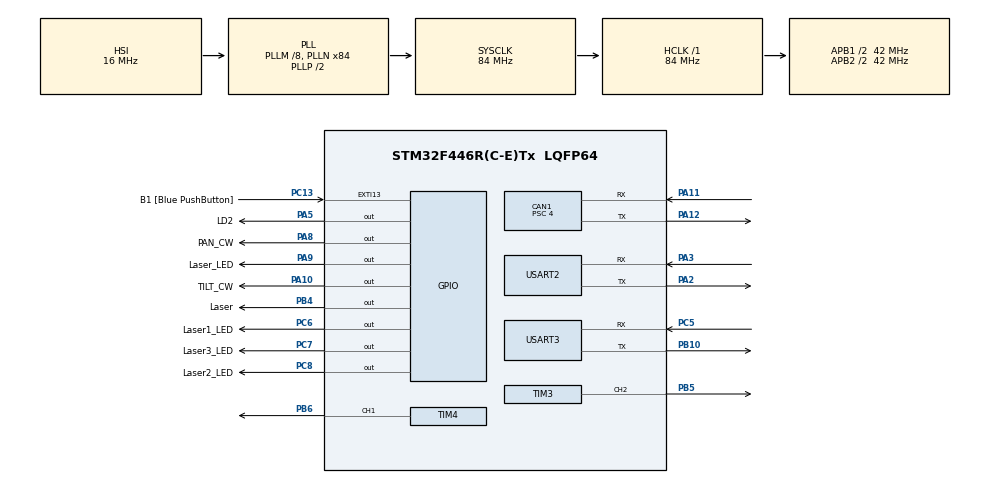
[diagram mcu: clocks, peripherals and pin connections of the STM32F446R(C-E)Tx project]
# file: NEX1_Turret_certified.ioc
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CAN1.BS1=CAN_BS1_15TQ
CAN1.BS2=CAN_BS2_5TQ
CAN1.CalculateBaudRate=500000
CAN1.CalculateTimeBit=2000
CAN1.CalculateTimeQuantum=95.23809523809524
CAN1.Prescaler=4
Mcu.Family=STM32F4
Mcu.Name=STM32F446R(C-E)Tx
Mcu.Package=LQFP64
NVIC.CAN1_RX0_IRQn=true\:0\:0\:false\:false\:true\:true\:true\:true
NVIC.PriorityGroup=NVIC_PRIORITYGROUP_0
NVIC.TIM1_UP_TIM10_IRQn=true\:0\:0\:false\:false\:true\:true\:true\:true
NVIC.TIM2_IRQn=true\:0\:0\:false\:false\:true\:true\:true\:true
NVIC.TIM8_UP_TIM13_IRQn=true\:0\:0\:false\:false\:true\:true\:true\:true
NVIC.USART2_IRQn=true\:0\:0\:false\:false\:true\:true\:true\:true
NVIC.USART3_IRQn=true\:0\:0\:false\:false\:true\:true\:true\:true
PA10.GPIO_Label=TILT_CW
PA10.Signal=GPIO_Output
PA11.Mode=CAN_Activate
PA11.Signal=CAN1_RX
PA12.Mode=CAN_Activate
PA12.Signal=CAN1_TX
PA13.GPIO_Label=TMS
PA13.Mode=Serial_Wire
PA13.Signal=SYS_JTMS-SWDIO
PA14.GPIO_Label=TCK
PA14.Mode=Serial_Wire
PA14.Signal=SYS_JTCK-SWCLK
PA2.Mode=Asynchronous
PA2.Signal=USART2_TX
PA3.Mode=Asynchronous
PA3.Signal=USART2_RX
PA5.GPIO_Label=LD2
PA5.Signal=GPIO_Output
PA8.GPIO_Label=PAN_CW
PA8.Signal=GPIO_Output
PA9.GPIO_Label=Laser_LED
PA9.Signal=GPIO_Output
PB10.Mode=Asynchronous
PB10.Signal=USART3_TX
PB3.GPIO_Label=SWO
PB3.Signal=SYS_JTDO-SWO
PB4.GPIO_Label=Laser
PB4.PinState=GPIO_PIN_RESET
PB4.Signal=GPIO_Output
PB5.Signal=S_TIM3_CH2
PB6.Signal=S_TIM4_CH1
PB8.Signal=S_TIM2_CH1_ETR
PC13.GPIO_Label=B1 [Blue PushButton]
PC13.GPIO_ModeDefaultEXTI=GPIO_MODE_IT_FALLING
PC13.Signal=GPXTI13
PC14-OSC32_IN.Mode=LSE-External-Oscillator
PC14-OSC32_IN.Signal=RCC_OSC32_IN
PC15-OSC32_OUT.Mode=LSE-External-Oscillator
PC15-OSC32_OUT.Signal=RCC_OSC32_OUT
PC5.Mode=Asynchronous
PC5.Signal=USART3_RX
PC6.GPIO_Label=Laser1_LED
PC6.Signal=GPIO_Output
PC7.GPIO_Label=Laser3_LED
PC7.Signal=GPIO_Output
PC8.GPIO_Label=Laser2_LED
PC8.Signal=GPIO_Output
PH0-OSC_IN.Mode=HSE-External-Oscillator
PH0-OSC_IN.Signal=RCC_OSC_IN
PH1-OSC_OUT.Mode=HSE-External-Oscillator
PH1-OSC_OUT.Signal=RCC_OSC_OUT
ProjectManager.HeapSize=0x200
ProjectManager.StackSize=0x400
ProjectManager.TargetToolchain=STM32CubeIDE
RCC.48MHZClocksFreq_Value=84000000
RCC.AHBFreq_Value=84000000
RCC.APB1CLKDivider=RCC_HCLK_DIV2
RCC.APB1Freq_Value=42000000
RCC.APB1TimFreq_Value=84000000
RCC.APB2CLKDivider=RCC_HCLK_DIV2
RCC.APB2Freq_Value=42000000
RCC.APB2TimFreq_Value=84000000
RCC.CortexFreq_Value=84000000
RCC.FLatency-AdvancedSettings=FLASH_LATENCY_2
RCC.HCLKFreq_Value=84000000
RCC.HSE_VALUE=8000000
RCC.HSI_VALUE=16000000
RCC.PLLM=8
RCC.PLLN=84
RCC.SYSCLKFreq_VALUE=84000000
RCC.SYSCLKSource=RCC_SYSCLKSOURCE_PLLCLK
RCC.USBFreq_Value=84000000
RCC.VCOOutputFreq_Value=168000000
SH.S_TIM2_CH1_ETR.0=TIM2_CH1
SH.S_TIM3_CH2.0=TIM3_CH2,PWM Generation2 CH2
SH.S_TIM4_CH1.0=TIM4_CH1,PWM Generation1 CH1
TIM1.AutoReloadPreload=TIM_AUTORELOAD_PRELOAD_ENABLE
TIM1.Period=9999
TIM1.Prescaler=839
TIM2.AutoReloadPreload=TIM_AUTORELOAD_PRELOAD_ENABLE
TIM2.Period=83
TIM2.Prescaler=9999
TIM3.AutoReloadPreload=TIM_AUTORELOAD_PRELOAD_ENABLE
TIM3.Channel-PWM\ Generation2\ CH2=TIM_CHANNEL_2
TIM3.Period=16
TIM3.Prescaler=9999
TIM4.AutoReloadPreload=TIM_AUTORELOAD_PRELOAD_ENABLE
TIM4.Channel-PWM\ Generation1\ CH1=TIM_CHANNEL_1
TIM4.Period=16
TIM4.Prescaler=9999
TIM8.AutoReloadPreload=TIM_AUTORELOAD_PRELOAD_ENABLE
TIM8.Period=83
TIM8.Prescaler=9999
USART2.VirtualMode=VM_ASYNC
USART3.VirtualMode=VM_ASYNC
VP_TIM1_VS_ClockSourceINT.Mode=Internal
VP_TIM2_VS_ClockSourceINT.Mode=Internal
VP_TIM3_VS_ClockSourceINT.Mode=Internal
VP_TIM4_VS_ClockSourceINT.Mode=Internal
VP_TIM8_VS_ClockSourceINT.Mode=Internal
board=NUCLEO-F446RE

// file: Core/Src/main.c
/* USER CODE BEGIN Header */
/**
  ******************************************************************************
  * @file           : main.c
  * @brief          : Gimbal Controller - 2-Axis PID Control with CAN Communication
  *                   - Manual Mode: Direction control via CAN (0x101)
  *                   - Auto Mode: PID tracking via CAN (0x110)
  *                   - Mode Switch: CAN (0x111)
  *                   - Laser Control: CAN (0x120)
  *                   - Heartbeat: CAN (0x702) every 500ms
  ******************************************************************************
  */
/* USER CODE END Header */
#include "main.h"
#include "can.h"
#include "tim.h"
#include "usart.h"
#include "gpio.h"

/* USER CODE BEGIN Includes */
#include <stdio.h>
#include <stdlib.h>
#include <math.h>
/* USER CODE END Includes */

/* USER CODE BEGIN PTD */

// PID 제어기 구조체
typedef struct {
    float Kp;           // 비례 게인
    float Ki;           // 적분 게인
    float Kd;           // 미분 게인

    float integral;     // 적분 누적값
    float prev_error;   // 이전 오차 (미분용)

    float output_min;   // 출력 하한
    float output_max;   // 출력 상한

    float integral_max; // Anti-windup: 적분 상한
} PID_Controller;

/* USER CODE END PTD */

/* USER CODE BEGIN PD */

// PID 제어 주기 (ms)
#define PID_PERIOD_MS       50

// PWM 주파수 범위 (Hz) - TB6560 펄스 주파수 (1kHz 이내)
#define PWM_FREQ_MIN        50      // 최소 펄스 주파수
#define PWM_FREQ_MAX        1000    // 최대 펄스 주파수 (TB6560 제한)

// Dead zone: 이 오차 이내면 모터 정지
#define DEAD_ZONE           5

// 타이머 클럭 (APB1 = 42MHz, prescaler != 1이므로 TIM 클럭 = APB1 * 2 = 84MHz)
#define TIMER_CLOCK         84000000UL

// 수동 모드 속도 (고정 PWM 주파수)
#define MANUAL_SPEED_HZ     200

// 수동 모드 펄스 지속 시간 (200ms = 5 * 10ms)
#define MANUAL_TIMEOUT_COUNT  2

/* USER CODE END PD */

/* USER CODE BEGIN PV */

// PAN (X축) PID 컨트롤러
// 입력 범위: X = -960 ~ +960 (해상도 1920x1080 기준)
// 출력 범위: PWM 주파수 제어용 (50Hz ~ 1000Hz)
PID_Controller pid_pan = {
    .Kp = 0.011f,           // 초기값 (튜닝 필요)
    .Ki = 0.002f,           // 초기값 (P 튜닝 후 조정)
    .Kd = 0.002f,           // 초기값 (PI 튜닝 후 조정)
    .integral = 0.0f,
    .prev_error = 0.0f,
    .output_min = -1000.0f,
    .output_max = 1000.0f,
    .integral_max = 500.0f
};

// TILT (Y축) PID 컨트롤러
// 입력 범위: Y = -540 ~ +540 (해상도 1920x1080 기준)
// 출력 범위: PWM 주파수 제어용 (50Hz ~ 1000Hz)
PID_Controller pid_tilt = {
    .Kp = 0.011f,           // 초기값 (튜닝 필요)
    .Ki = 0.002f,           // 초기값 (P 튜닝 후 조정)
    .Kd = 0.002f,           // 초기값 (PI 튜닝 후 조정)
    .integral = 0.0f,
    .prev_error = 0.0f,
    .output_min = -1000.0f,
    .output_max = 1000.0f,
    .integral_max = 500.0f
};

// PID 제어 타이밍
uint32_t last_pid_time = 0;

// 현재 오차값 (CAN으로 수신)
volatile int16_t error_x = 0;
volatile int16_t error_y = 0;

// 제어 모드: 0 = 자동 (PID), 1 = 수동
volatile uint8_t control_mode = 1;  // 초기값: 수동 모드

// 레이저 상태: 0 = OFF, 1 = ON
volatile uint8_t laser_state = 0;

// 수동 모드 타이머 카운트 (10ms 단위)
volatile uint8_t manual_pan_timer = 0;
volatile uint8_t manual_tilt_timer = 0;

// 수동 모드 방향 플래그
volatile uint8_t manual_pan_dir = 0;   // 0: 정지, 1: CCW(좌), 2: CW(우)
volatile uint8_t manual_tilt_dir = 0;  // 0: 정지, 1: CCW(상), 2: CW(하)

/* USER CODE END PV */

void SystemClock_Config(void);
/* USER CODE BEGIN PFP */

// PID 관련 함수 선언
void PID_Init(PID_Controller *pid);
float PID_Compute(PID_Controller *pid, float setpoint, float measurement, float dt);
void Motor_SetPWMFrequency(TIM_HandleTypeDef *htim, uint32_t channel, uint32_t freq_hz);
void Motor_Stop(TIM_HandleTypeDef *htim, uint32_t channel);
void Control_PAN(float pid_output);
void Control_TILT(float pid_output);

// 레이저 제어
void Laser_Set(uint8_t state);
void Laser_Toggle(void);

// 수동 모드 제어
void Manual_ControlPAN(uint8_t left, uint8_t right);
void Manual_ControlTILT(uint8_t up, uint8_t down);

#ifdef __GNUC__
  #define PUTCHAR_PROTOTYPE int __io_putchar(int ch)
#else
  #define PUTCHAR_PROTOTYPE int fputc(int ch, FILE *f)
#endif
PUTCHAR_PROTOTYPE
{
  HAL_UART_Transmit(&huart2, (uint8_t *)&ch, 1, 0xFFFF);
  return ch;
}

/* USER CODE END PFP */

int main(void)
{

  /* MCU Configuration--------------------------------------------------------*/

  /* Reset of all peripherals, Initializes the Flash interface and the Systick. */
  HAL_Init();

  /* Configure the system clock */
  SystemClock_Config();

  /* Initialize all configured peripherals */
  MX_GPIO_Init();
  MX_TIM1_Init();
  MX_USART2_UART_Init();
  MX_CAN1_Init();
  MX_USART3_UART_Init();
  MX_TIM8_Init();
  MX_TIM2_Init();
  MX_TIM3_Init();
  MX_TIM4_Init();
  /* USER CODE BEGIN 2 */

  // PID 초기화
  PID_Init(&pid_pan);
  PID_Init(&pid_tilt);

  // PWM 시작 (초기에는 정지 상태)
  HAL_TIM_PWM_Start(&htim3, TIM_CHANNEL_2);  // PAN (PB5)
  HAL_TIM_PWM_Start(&htim4, TIM_CHANNEL_1);  // TILT (PB6)
  Motor_Stop(&htim3, TIM_CHANNEL_2);
  Motor_Stop(&htim4, TIM_CHANNEL_1);

  // 타이머 인터럽트 시작 (10ms 주기 - 수동 모드 타이머 & 하트비트)
  HAL_TIM_Base_Start_IT(&htim2);

  // CAN 필터 설정 및 시작
  MX_CAN1_Filter_Gimbal();
  HAL_CAN_Start(&hcan1);

  // 레이저 초기화 (OFF)
  Laser_Set(0);

  // 타이밍 초기화
  last_pid_time = HAL_GetTick();

  printf("\r\n========================================\r\n");
  printf("    Gimbalcv Controller Initialized\r\n");
  printf("    Mode: %s\r\n", control_mode ? "MANUAL" : "AUTO (PID)");
  printf("    Laser: %s\r\n", laser_state ? "ON" : "OFF");
  printf("========================================\r\n");

  /* USER CODE END 2 */

  /* Infinite loop */
  /* USER CODE BEGIN WHILE */
  while (1)
  {
      uint32_t current_time = HAL_GetTick();

      // ========== CAN 메시지 처리 ==========
      CAN_HandleRxMessage();

      // ========== 모드 토글 처리 ==========
      if (CAN_ConsumeModeToggle())
      {
          control_mode = !control_mode;

          // 모드 전환 시 모터 정지 및 PID 리셋
          Motor_Stop(&htim3, TIM_CHANNEL_2);
          Motor_Stop(&htim4, TIM_CHANNEL_1);
          PID_Init(&pid_pan);
          PID_Init(&pid_tilt);
          manual_pan_timer = 0;
          manual_tilt_timer = 0;

          printf("[MODE] Switched to %s mode\r\n", control_mode ? "MANUAL" : "AUTO (PID)");
      }

      // ========== 레이저 ON/OFF 처리 ==========
      {
          uint8_t laser_on;
          if (CAN_GetLaserCmd(&laser_on))
          {
              Laser_Set(laser_on);
              printf("[LASER] %s\r\n", laser_state ? "ON" : "OFF");
          }
      }

      // ========== 수동 모드 ==========
      if (control_mode == 1)
      {
          uint8_t up, down, left, right;

          // CAN에서 수동 제어 명령 수신
          if (CAN_GetManualCmd(&up, &down, &left, &right))
          {
              Manual_ControlPAN(left, right);
              Manual_ControlTILT(up, down);
          }

          // PAN 타이머 만료 → 정지
          if (manual_pan_timer == 0 && manual_pan_dir != 0)
          {
              Motor_Stop(&htim3, TIM_CHANNEL_2);
              manual_pan_dir = 0;
          }

          // TILT 타이머 만료 → 정지
          if (manual_tilt_timer == 0 && manual_tilt_dir != 0)
          {
              Motor_Stop(&htim4, TIM_CHANNEL_1);
              manual_tilt_dir = 0;
          }
      }
      // ========== 자동 (PID) 모드 ==========
      // 좌표 범위: X = -960 ~ +960, Y = -540 ~ +540 (해상도 1920x1080 기준)
      else
      {
          int16_t err_x, err_y;

          // CAN에서 자동 제어 명령 수신 (오차값)
          if (CAN_GetAutoCmd(&err_x, &err_y))
          {
              __disable_irq();
              error_x = err_x;
              error_y = err_y;
              __enable_irq();

              // 드론 오차 좌표 로그 출력 (10진수)
              printf("[AUTO] Drone Error: X=%d, Y=%d\r\n", err_x, err_y);
          }

          // PID 제어 주기 체크 (50ms 마다)
          if ((current_time - last_pid_time) >= PID_PERIOD_MS)
          {
              float dt = (current_time - last_pid_time) / 1000.0f;  // 초 단위
              last_pid_time = current_time;

              // 현재 오차값 복사 (인터럽트 보호)
              __disable_irq();
              int16_t local_err_x = error_x;
              int16_t local_err_y = error_y;
              __enable_irq();

              // PID 계산 (목표: 오차 0)
              // X양수 → PAN CW, X음수 → PAN CCW
              // Y양수 → TILT CCW, Y음수 → TILT CW
              float output_pan = PID_Compute(&pid_pan, 0.0f, (float)local_err_x, dt);
              float output_tilt = PID_Compute(&pid_tilt, 0.0f, (float)local_err_y, dt);

              // PID 출력 로그 (튜닝용) - float를 정수로 변환 출력
              printf("[PID] X_err=%d, Y_err=%d, PAN_out=%d, TILT_out=%d\r\n",
                     local_err_x, local_err_y, (int)output_pan, (int)output_tilt);

              // 모터 제어 적용
              Control_PAN(output_pan);
              Control_TILT(output_tilt);
          }
      }

      // ========== CAN 에러 체크 및 복구 ==========
      CAN_CheckAndRecover();

    /* USER CODE END WHILE */

  }
}

void SystemClock_Config(void)
{
  RCC_OscInitTypeDef RCC_OscInitStruct = {0};
  RCC_ClkInitTypeDef RCC_ClkInitStruct = {0};

  /** Configure the main internal regulator output voltage
  */
  __HAL_RCC_PWR_CLK_ENABLE();
  __HAL_PWR_VOLTAGESCALING_CONFIG(PWR_REGULATOR_VOLTAGE_SCALE3);

  /** Initializes the RCC Oscillators according to the specified parameters
  * in the RCC_OscInitTypeDef structure.
  */
  RCC_OscInitStruct.OscillatorType = RCC_OSCILLATORTYPE_HSI;
  RCC_OscInitStruct.HSIState = RCC_HSI_ON;
  RCC_OscInitStruct.HSICalibrationValue = RCC_HSICALIBRATION_DEFAULT;
  RCC_OscInitStruct.PLL.PLLState = RCC_PLL_ON;
  RCC_OscInitStruct.PLL.PLLSource = RCC_PLLSOURCE_HSI;
  RCC_OscInitStruct.PLL.PLLM = 8;
  RCC_OscInitStruct.PLL.PLLN = 84;
  RCC_OscInitStruct.PLL.PLLP = RCC_PLLP_DIV2;
  RCC_OscInitStruct.PLL.PLLQ = 2;
  RCC_OscInitStruct.PLL.PLLR = 2;
  if (HAL_RCC_OscConfig(&RCC_OscInitStruct) != HAL_OK)
  {
    Error_Handler();
  }

  /** Initializes the CPU, AHB and APB buses clocks
  */
  RCC_ClkInitStruct.ClockType = RCC_CLOCKTYPE_HCLK|RCC_CLOCKTYPE_SYSCLK
                              |RCC_CLOCKTYPE_PCLK1|RCC_CLOCKTYPE_PCLK2;
  RCC_ClkInitStruct.SYSCLKSource = RCC_SYSCLKSOURCE_PLLCLK;
  RCC_ClkInitStruct.AHBCLKDivider = RCC_SYSCLK_DIV1;
  RCC_ClkInitStruct.APB1CLKDivider = RCC_HCLK_DIV2;
  RCC_ClkInitStruct.APB2CLKDivider = RCC_HCLK_DIV2;

  if (HAL_RCC_ClockConfig(&RCC_ClkInitStruct, FLASH_LATENCY_2) != HAL_OK)
  {
    Error_Handler();
  }
}

/* USER CODE BEGIN 4 */

/**
 * @brief PID 컨트롤러 초기화
 */
void PID_Init(PID_Controller *pid)
{
    pid->integral = 0.0f;
    pid->prev_error = 0.0f;
}

/**
 * @brief PID 제어 계산
 */
float PID_Compute(PID_Controller *pid, float setpoint, float measurement, float dt)
{
    float error = setpoint - measurement;

    // Dead zone: 오차가 작으면 적분값 리셋하고 0 반환
    if (fabsf(error) < DEAD_ZONE)
    {
        pid->integral = 0.0f;
        pid->prev_error = 0.0f;
        return 0.0f;
    }

    // 비례항 (P)
    float p_term = pid->Kp * error;

    // 적분항 (I) - Anti-windup 적용
    pid->integral += error * dt;
    if (pid->integral > pid->integral_max) pid->integral = pid->integral_max;
    if (pid->integral < -pid->integral_max) pid->integral = -pid->integral_max;
    float i_term = pid->Ki * pid->integral;

    // 미분항 (D)
    float derivative = (error - pid->prev_error) / dt;
    float d_term = pid->Kd * derivative;
    pid->prev_error = error;

    // PID 출력 합산
    float output = p_term + i_term + d_term;

    // 출력 제한
    if (output > pid->output_max) output = pid->output_max;
    if (output < pid->output_min) output = pid->output_min;

    return output;
}

/**
 * @brief PWM 주파수 설정 (TB6560 펄스 속도 제어)
 */
void Motor_SetPWMFrequency(TIM_HandleTypeDef *htim, uint32_t channel, uint32_t freq_hz)
{
    if (freq_hz < PWM_FREQ_MIN) freq_hz = PWM_FREQ_MIN;
    if (freq_hz > PWM_FREQ_MAX) freq_hz = PWM_FREQ_MAX;

    // ARR 계산
    uint32_t psc = htim->Init.Prescaler;
    uint32_t timer_freq = TIMER_CLOCK / (psc + 1);
    uint32_t arr = (timer_freq / freq_hz) - 1;

    if (arr < 1) arr = 1;
    if (arr > 65535) arr = 65535;

    // ARR 업데이트
    __HAL_TIM_SET_AUTORELOAD(htim, arr);

    // Duty 50%로 설정 (펄스 생성)
    __HAL_TIM_SET_COMPARE(htim, channel, arr / 2);
}

/**
 * @brief 모터 정지 (PWM 출력 0)
 */
void Motor_Stop(TIM_HandleTypeDef *htim, uint32_t channel)
{
    __HAL_TIM_SET_COMPARE(htim, channel, 0);
}

/**
 * @brief PAN 모터 제어 (자동 모드)
 * @note X좌표 양수(드론이 오른쪽) → CCW, X좌표 음수(드론이 왼쪽) → CW
 *       좌표 범위: X = -960 ~ +960 (해상도 1920x1080 기준 중심으로부터의 오차)
 */
void Control_PAN(float pid_output)
{
    if (fabsf(pid_output) < DEAD_ZONE)
    {
        Motor_Stop(&htim3, TIM_CHANNEL_2);
        return;
    }

    // 방향 설정 (PA8: PAN_CW) - 방향 반전 적용
    // X좌표 양수 → pid_output 음수 → CCW (GPIO_PIN_RESET)
    // X좌표 음수 → pid_output 양수 → CW (GPIO_PIN_SET)
    if (pid_output > 0)
    {
        HAL_GPIO_WritePin(PAN_CW_GPIO_Port, PAN_CW_Pin, GPIO_PIN_SET);    // CW
    }
    else
    {
        HAL_GPIO_WritePin(PAN_CW_GPIO_Port, PAN_CW_Pin, GPIO_PIN_RESET);  // CCW
    }

    // 속도 설정
    float speed = fabsf(pid_output);
    uint32_t freq = (uint32_t)(PWM_FREQ_MIN + (speed / 1000.0f) * (PWM_FREQ_MAX - PWM_FREQ_MIN));

    Motor_SetPWMFrequency(&htim3, TIM_CHANNEL_2, freq);
}

/**
 * @brief TILT 모터 제어 (자동 모드)
 * @note Y좌표 양수(드론이 위) → CCW, Y좌표 음수(드론이 아래) → CW
 *       좌표 범위: Y = -540 ~ +540 (해상도 1920x1080 기준 중심으로부터의 오차)
 */
void Control_TILT(float pid_output)
{
    if (fabsf(pid_output) < DEAD_ZONE)
    {
        Motor_Stop(&htim4, TIM_CHANNEL_1);
        return;
    }

    // 방향 설정 (PA10: TILT_CW) - 방향 반전 적용
    // Y좌표 양수 → pid_output 음수 → CCW (GPIO_PIN_SET)
    // Y좌표 음수 → pid_output 양수 → CW (GPIO_PIN_RESET)
    if (pid_output > 0)
    {
        HAL_GPIO_WritePin(TILT_CW_GPIO_Port, TILT_CW_Pin, GPIO_PIN_RESET);  // CW
    }
    else
    {
        HAL_GPIO_WritePin(TILT_CW_GPIO_Port, TILT_CW_Pin, GPIO_PIN_SET);    // CCW
    }

    // 속도 설정
    float speed = fabsf(pid_output);
    uint32_t freq = (uint32_t)(PWM_FREQ_MIN + (speed / 1000.0f) * (PWM_FREQ_MAX - PWM_FREQ_MIN));

    Motor_SetPWMFrequency(&htim4, TIM_CHANNEL_1, freq);
}

/**
 * @brief 레이저 ON/OFF 설정
 */
void Laser_Set(uint8_t state)
{
    laser_state = state ? 1 : 0;

    // PB4: Laser, PA9: Laser_LED, PC6/PC7/PC8: 추가 레이저 3개
    if (laser_state)
    {
        HAL_GPIO_WritePin(Laser_GPIO_Port, Laser_Pin, GPIO_PIN_SET);
        HAL_GPIO_WritePin(Laser_LED_GPIO_Port, Laser_LED_Pin, GPIO_PIN_SET);
        // 추가 레이저 3개 ON (PC6, PC7, PC8)
        HAL_GPIO_WritePin(Laser1_LED_GPIO_Port, Laser1_LED_Pin, GPIO_PIN_SET);
        HAL_GPIO_WritePin(Laser3_LED_GPIO_Port, Laser3_LED_Pin, GPIO_PIN_SET);
        HAL_GPIO_WritePin(Laser2_LED_GPIO_Port, Laser2_LED_Pin, GPIO_PIN_SET);
    }
    else
    {
        HAL_GPIO_WritePin(Laser_GPIO_Port, Laser_Pin, GPIO_PIN_RESET);
        HAL_GPIO_WritePin(Laser_LED_GPIO_Port, Laser_LED_Pin, GPIO_PIN_RESET);
        // 추가 레이저 3개 OFF (PC6, PC7, PC8)
        HAL_GPIO_WritePin(Laser1_LED_GPIO_Port, Laser1_LED_Pin, GPIO_PIN_RESET);
        HAL_GPIO_WritePin(Laser3_LED_GPIO_Port, Laser3_LED_Pin, GPIO_PIN_RESET);
        HAL_GPIO_WritePin(Laser2_LED_GPIO_Port, Laser2_LED_Pin, GPIO_PIN_RESET);
    }
}

/**
 * @brief 레이저 상태 토글
 */
void Laser_Toggle(void)
{
    Laser_Set(!laser_state);
}

/**
 * @brief 수동 모드 - PAN 제어
 */
void Manual_ControlPAN(uint8_t left, uint8_t right)
{
    if (left && !right)
    {
        // CW (좌) - 방향 반전
        HAL_GPIO_WritePin(PAN_CW_GPIO_Port, PAN_CW_Pin, GPIO_PIN_SET);
        Motor_SetPWMFrequency(&htim3, TIM_CHANNEL_2, MANUAL_SPEED_HZ);
        manual_pan_dir = 1;
        manual_pan_timer = MANUAL_TIMEOUT_COUNT;
    }
    else if (right && !left)
    {
        // CCW (우) - 방향 반전
        HAL_GPIO_WritePin(PAN_CW_GPIO_Port, PAN_CW_Pin, GPIO_PIN_RESET);
        Motor_SetPWMFrequency(&htim3, TIM_CHANNEL_2, MANUAL_SPEED_HZ);
        manual_pan_dir = 2;
        manual_pan_timer = MANUAL_TIMEOUT_COUNT;
    }
    else
    {
        // 정지 (아무 키도 안눌림 또는 둘 다 눌림)
        Motor_Stop(&htim3, TIM_CHANNEL_2);
        manual_pan_dir = 0;
        manual_pan_timer = 0;
    }
}

/**
 * @brief 수동 모드 - TILT 제어
 * @note '상' 명령 → CCW, '하' 명령 → CW (방향 반전 적용)
 */
void Manual_ControlTILT(uint8_t up, uint8_t down)
{
    if (up && !down)
    {
        // CCW (상) - 방향 반전: GPIO_PIN_SET = CCW
        HAL_GPIO_WritePin(TILT_CW_GPIO_Port, TILT_CW_Pin, GPIO_PIN_SET);
        Motor_SetPWMFrequency(&htim4, TIM_CHANNEL_1, MANUAL_SPEED_HZ);
        manual_tilt_dir = 1;
        manual_tilt_timer = MANUAL_TIMEOUT_COUNT;
    }
    else if (down && !up)
    {
        // CW (하) - 방향 반전: GPIO_PIN_RESET = CW
        HAL_GPIO_WritePin(TILT_CW_GPIO_Port, TILT_CW_Pin, GPIO_PIN_RESET);
        Motor_SetPWMFrequency(&htim4, TIM_CHANNEL_1, MANUAL_SPEED_HZ);
        manual_tilt_dir = 2;
        manual_tilt_timer = MANUAL_TIMEOUT_COUNT;
    }
    else
    {
        // 정지
        Motor_Stop(&htim4, TIM_CHANNEL_1);
        manual_tilt_dir = 0;
        manual_tilt_timer = 0;
    }
}

/**
 * @brief CAN 수신 콜백 (ISR)
 */
void HAL_CAN_RxFifo0MsgPendingCallback(CAN_HandleTypeDef *hcan)
{
    if (hcan->Instance == CAN1)
    {
        HAL_CAN_GetRxMessage(&hcan1, CAN_RX_FIFO0, &canRxHeader, &can1Rx0Data[0]);
        can1_rx0_flag = 1;
    }
}

/* USER CODE END 4 */

void Error_Handler(void)
{
  __disable_irq();
  while (1)
  {
  }
}
